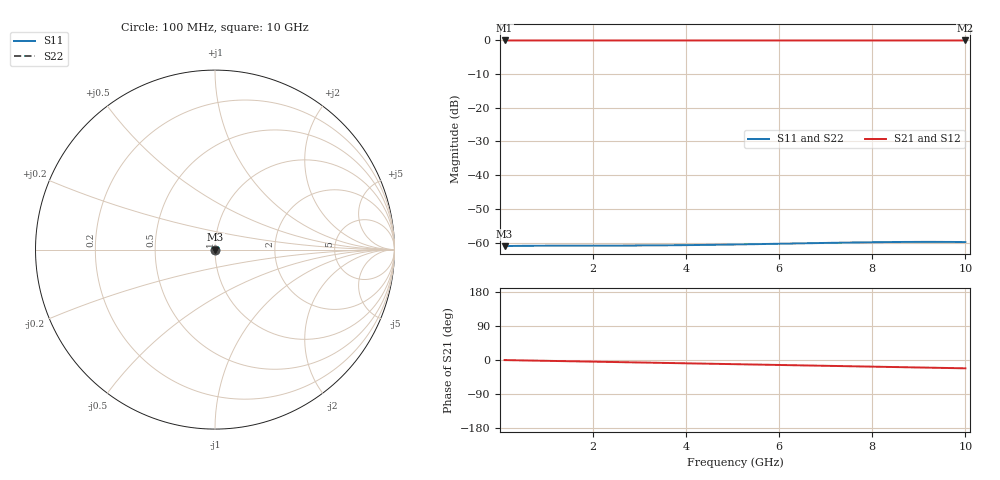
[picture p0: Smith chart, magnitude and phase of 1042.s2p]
# Hz S RI R 50.00
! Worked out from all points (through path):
!   100 points, 100 MHz to 10 GHz, reference 50 ohm
!   highest |S21| = -0.01 dB at 100 MHz (marker M1); lowest = 0.0 dB at 10 GHz (marker M2)
!   group delay of S21, straight-line fit = 6.1 ps
!   lowest |S11| = -61.1 dB at 100 MHz (marker M3), VSWR 1.00, Z = 50.1 - j0.00075 ohm
!   |S11| at or under -10 dB: start of sweep to end of sweep
!   |S22| runs from -61.1 to -59.8 dB; largest |S21 - S12| = 0
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1e8  0.000883 -7.49e-06  0.9991 -0.0038  0.9991 -0.0038  0.000883 -7.49e-06
2e8  0.000887 -1.5e-05  0.9991 -0.00759  0.9991 -0.00759  0.000887 -1.5e-05
3e8  0.000889 -2.27e-05  0.999 -0.0114  0.999 -0.0114  0.000889 -2.27e-05
6e8  0.000893 -4.61e-05  0.9988 -0.0228  0.9988 -0.0228  0.000893 -4.61e-05
1e9  0.000893 -7.87e-05  0.9983 -0.038  0.9983 -0.038  0.000893 -7.87e-05
1.8e9  0.000886 -0.00015  0.9967 -0.0683  0.9967 -0.0683  0.000886 -0.00015
2.7e9  0.00087 -0.000239  0.9937 -0.1025  0.9937 -0.1025  0.00087 -0.000239
3.4e9  0.000852 -0.000314  0.9906 -0.129  0.9906 -0.129  0.000852 -0.000314
3.8e9  0.000839 -0.000358  0.9885 -0.1441  0.9885 -0.1441  0.000839 -0.000358
4.2e9  0.000825 -0.000403  0.9862 -0.1592  0.9862 -0.1592  0.000825 -0.000403
4.6e9  0.00081 -0.000448  0.9836 -0.1742  0.9836 -0.1742  0.00081 -0.000448
5.1e9  0.000789 -0.000505  0.9801 -0.193  0.9801 -0.193  0.000789 -0.000505
5.9e9  0.000751 -0.000593  0.9737 -0.223  0.9737 -0.223  0.000751 -0.000593
6.7e9  0.00071 -0.000674  0.9664 -0.2528  0.9664 -0.2528  0.00071 -0.000674
7.2e9  0.000682 -0.00072  0.9613 -0.2714  0.9613 -0.2714  0.000682 -0.00072
7.6e9  0.00066 -0.000753  0.957 -0.2861  0.957 -0.2861  0.00066 -0.000753
8e9  0.000639 -0.000783  0.9525 -0.3009  0.9525 -0.3009  0.000639 -0.000783
8.4e9  0.000617 -0.000808  0.9477 -0.3155  0.9477 -0.3155  0.000617 -0.000808
8.8e9  0.000596 -0.000829  0.9427 -0.3301  0.9427 -0.3301  0.000596 -0.000829
9.2e9  0.000577 -0.000844  0.9375 -0.3447  0.9375 -0.3447  0.000577 -0.000844
9.6e9  0.000559 -0.000854  0.932 -0.3591  0.932 -0.3591  0.000559 -0.000854
1e10  0.000543 -0.000859  0.9263 -0.3735  0.9263 -0.3735  0.000543 -0.000859
